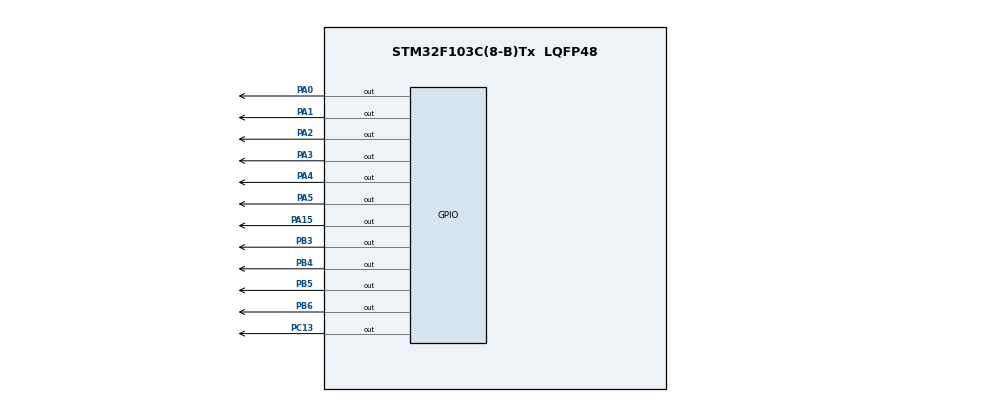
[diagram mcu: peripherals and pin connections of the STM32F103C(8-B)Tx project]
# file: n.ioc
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Mcu.Family=STM32F1
Mcu.Name=STM32F103C(8-B)Tx
Mcu.Package=LQFP48
NVIC.PriorityGroup=NVIC_PRIORITYGROUP_4
PA0-WKUP.Signal=GPIO_Output
PA1.Signal=GPIO_Output
PA13.Mode=Serial_Wire
PA13.Signal=SYS_JTMS-SWDIO
PA14.Mode=Serial_Wire
PA14.Signal=SYS_JTCK-SWCLK
PA15.Signal=GPIO_Output
PA2.Signal=GPIO_Output
PA3.Signal=GPIO_Output
PA4.Signal=GPIO_Output
PA5.Signal=GPIO_Output
PB3.Signal=GPIO_Output
PB4.Signal=GPIO_Output
PB5.Signal=GPIO_Output
PB6.Signal=GPIO_Output
PC13-TAMPER-RTC.Signal=GPIO_Output
PC14-OSC32_IN.Mode=LSE-External-Oscillator
PC14-OSC32_IN.Signal=RCC_OSC32_IN
PC15-OSC32_OUT.Mode=LSE-External-Oscillator
PC15-OSC32_OUT.Signal=RCC_OSC32_OUT
ProjectManager.HeapSize=0x200
ProjectManager.StackSize=0x400
ProjectManager.TargetToolchain=STM32CubeIDE
RCC.APB1Freq_Value=8000000
RCC.APB2Freq_Value=8000000
board=custom

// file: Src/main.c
/* USER CODE BEGIN Header */
/**
  ******************************************************************************
  * @file           : main.c
  * @brief          : Main program body
  ******************************************************************************
  * @attention
  *
  * <h2><center>&copy; Copyright (c) 2019 STMicroelectronics.
  * All rights reserved.</center></h2>
  *
  * This software component is licensed by ST under BSD 3-Clause license,
  * the "License"; You may not use this file except in compliance with the
  * License. You may obtain a copy of the License at:
  *                        opensource.org/licenses/BSD-3-Clause
  *
  ******************************************************************************
  */
/* USER CODE END Header */

#include "main.h"
#include "nokia5110.h"
#include "graphic.h"

void SystemClock_Config(void);
static void MX_GPIO_Init(void);

int main(void)
{

  /* MCU Configuration--------------------------------------------------------*/

  /* Reset of all peripherals, Initializes the Flash interface and the Systick. */
  HAL_Init();

  /* Configure the system clock */
  SystemClock_Config();

  /* Initialize all configured peripherals */
  MX_GPIO_Init();
  /* USER CODE BEGIN 2 */
  LCD_setRST(GPIOB, GPIO_PIN_6);
  LCD_setCE(GPIOB, GPIO_PIN_5);
  LCD_setDC(GPIOB, GPIO_PIN_4);
  LCD_setDIN(GPIOB, GPIO_PIN_3);
  LCD_setCLK(GPIOA, GPIO_PIN_15);
  LCD_init();
 // LCD_clrScr();
  HAL_Delay(1000);

  LCD_invert(1);
  //LCD_putChar('a');
  LCD_print("Hello World", 0, 2);
  LCD_goXY(0, 0);
  HAL_Delay(1000);
  LCD_clrScr();
  LCD_goXY(0, 0);
  //LCD_print("Vol", 1, 0);
  LCD_printBuffer(mari);
  //HAL_Delay(1000);

  /* USER CODE END 2 */

  /* Infinite loop */
  while (1)
  {

    /* USER CODE BEGIN 3 */

	 // LCD_print("a", i, j);

//	  //LCD_write(0x, LCD_DATA);
//	  //LCD_clrScr();
////	  LCD_print("Hello World", 3, 4);
////	  LCD_clrScr();
////	  LCD_goXY(0, 0);
////	  LCD_putChar('a');
////	  LCD_print("Hello World", 3, 4);
	  HAL_Delay(1000);
//	  LCD_clrScr();
  }
  /* USER CODE END 3 */
}

void SystemClock_Config(void)
{
  RCC_OscInitTypeDef RCC_OscInitStruct = {0};
  RCC_ClkInitTypeDef RCC_ClkInitStruct = {0};

  /** Initializes the CPU, AHB and APB busses clocks
  */
  RCC_OscInitStruct.OscillatorType = RCC_OSCILLATORTYPE_HSI;
  RCC_OscInitStruct.HSIState = RCC_HSI_ON;
  RCC_OscInitStruct.HSICalibrationValue = RCC_HSICALIBRATION_DEFAULT;
  RCC_OscInitStruct.PLL.PLLState = RCC_PLL_NONE;
  if (HAL_RCC_OscConfig(&RCC_OscInitStruct) != HAL_OK)
  {
    Error_Handler();
  }
  /** Initializes the CPU, AHB and APB busses clocks
  */
  RCC_ClkInitStruct.ClockType = RCC_CLOCKTYPE_HCLK|RCC_CLOCKTYPE_SYSCLK
                              |RCC_CLOCKTYPE_PCLK1|RCC_CLOCKTYPE_PCLK2;
  RCC_ClkInitStruct.SYSCLKSource = RCC_SYSCLKSOURCE_HSI;
  RCC_ClkInitStruct.AHBCLKDivider = RCC_SYSCLK_DIV1;
  RCC_ClkInitStruct.APB1CLKDivider = RCC_HCLK_DIV1;
  RCC_ClkInitStruct.APB2CLKDivider = RCC_HCLK_DIV1;

  if (HAL_RCC_ClockConfig(&RCC_ClkInitStruct, FLASH_LATENCY_0) != HAL_OK)
  {
    Error_Handler();
  }
}

static void MX_GPIO_Init(void)
{
  GPIO_InitTypeDef GPIO_InitStruct = {0};

  /* GPIO Ports Clock Enable */
  __HAL_RCC_GPIOC_CLK_ENABLE();
  __HAL_RCC_GPIOA_CLK_ENABLE();
  __HAL_RCC_GPIOB_CLK_ENABLE();

  /*Configure GPIO pin Output Level */
  HAL_GPIO_WritePin(GPIOC, GPIO_PIN_13, GPIO_PIN_RESET);

  /*Configure GPIO pin Output Level */
  HAL_GPIO_WritePin(GPIOA, GPIO_PIN_0|GPIO_PIN_1|GPIO_PIN_2|GPIO_PIN_3
                          |GPIO_PIN_4|GPIO_PIN_5|GPIO_PIN_15, GPIO_PIN_RESET);

  /*Configure GPIO pin Output Level */
  HAL_GPIO_WritePin(GPIOB, GPIO_PIN_3|GPIO_PIN_4|GPIO_PIN_5|GPIO_PIN_6, GPIO_PIN_RESET);

  /*Configure GPIO pin : PC13 */
  GPIO_InitStruct.Pin = GPIO_PIN_13;
  GPIO_InitStruct.Mode = GPIO_MODE_OUTPUT_PP;
  GPIO_InitStruct.Pull = GPIO_NOPULL;
  GPIO_InitStruct.Speed = GPIO_SPEED_FREQ_LOW;
  HAL_GPIO_Init(GPIOC, &GPIO_InitStruct);

  /*Configure GPIO pins : PA0 PA1 PA2 PA3
                           PA4 PA5 PA15 */
  GPIO_InitStruct.Pin = GPIO_PIN_0|GPIO_PIN_1|GPIO_PIN_2|GPIO_PIN_3
                          |GPIO_PIN_4|GPIO_PIN_5|GPIO_PIN_15;
  GPIO_InitStruct.Mode = GPIO_MODE_OUTPUT_PP;
  GPIO_InitStruct.Pull = GPIO_NOPULL;
  GPIO_InitStruct.Speed = GPIO_SPEED_FREQ_LOW;
  HAL_GPIO_Init(GPIOA, &GPIO_InitStruct);

  /*Configure GPIO pins : PB3 PB4 PB5 PB6 */
  GPIO_InitStruct.Pin = GPIO_PIN_3|GPIO_PIN_4|GPIO_PIN_5|GPIO_PIN_6;
  GPIO_InitStruct.Mode = GPIO_MODE_OUTPUT_PP;
  GPIO_InitStruct.Pull = GPIO_NOPULL;
  GPIO_InitStruct.Speed = GPIO_SPEED_FREQ_LOW;
  HAL_GPIO_Init(GPIOB, &GPIO_InitStruct);

}

void Error_Handler(void)
{
}

/************************ (C) COPYRIGHT STMicroelectronics *****END OF FILE****/
